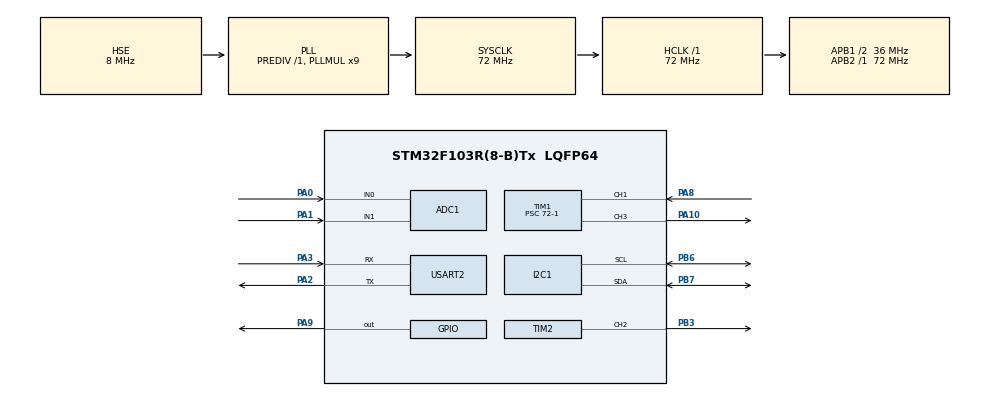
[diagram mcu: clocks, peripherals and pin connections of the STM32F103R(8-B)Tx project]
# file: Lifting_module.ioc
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ADC1.Channel-0\#ChannelRegularConversion=ADC_CHANNEL_0
ADC1.Channel-1\#ChannelRegularConversion=ADC_CHANNEL_1
ADC1.ContinuousConvMode=ENABLE
ADC1.NbrOfConversion=2
ADC1.NbrOfConversionFlag=1
ADC1.Rank-0\#ChannelRegularConversion=1
ADC1.Rank-1\#ChannelRegularConversion=2
ADC1.SamplingTime-0\#ChannelRegularConversion=ADC_SAMPLETIME_28CYCLES_5
ADC1.SamplingTime-1\#ChannelRegularConversion=ADC_SAMPLETIME_28CYCLES_5
ADC1.master=1
Dma.ADC1.0.Direction=DMA_PERIPH_TO_MEMORY
Dma.ADC1.0.Instance=DMA1_Channel1
Dma.ADC1.0.MemDataAlignment=DMA_MDATAALIGN_HALFWORD
Dma.ADC1.0.MemInc=DMA_MINC_ENABLE
Dma.ADC1.0.Mode=DMA_CIRCULAR
Dma.ADC1.0.PeriphDataAlignment=DMA_PDATAALIGN_HALFWORD
Dma.ADC1.0.PeriphInc=DMA_PINC_DISABLE
Dma.ADC1.0.Priority=DMA_PRIORITY_LOW
Dma.Request0=ADC1
Mcu.Family=STM32F1
Mcu.Name=STM32F103R(8-B)Tx
Mcu.Package=LQFP64
NVIC.DMA1_Channel1_IRQn=true\:0\:0\:false\:false\:true\:false\:true
NVIC.PriorityGroup=NVIC_PRIORITYGROUP_4
NVIC.TIM1_CC_IRQn=true\:0\:0\:false\:false\:true\:true\:true
PA0-WKUP.Signal=ADCx_IN0
PA1.Signal=ADCx_IN1
PA10.Signal=S_TIM1_CH3
PA13.Mode=Serial_Wire
PA13.Signal=SYS_JTMS-SWDIO
PA14.Mode=Serial_Wire
PA14.Signal=SYS_JTCK-SWCLK
PA2.Mode=Asynchronous
PA2.Signal=USART2_TX
PA3.Mode=Asynchronous
PA3.Signal=USART2_RX
PA8.Signal=S_TIM1_CH1
PA9.Signal=GPIO_Output
PB3.Signal=S_TIM2_CH2
PB6.Mode=I2C
PB6.Signal=I2C1_SCL
PB7.Mode=I2C
PB7.Signal=I2C1_SDA
PC14-OSC32_IN.Mode=LSE-External-Oscillator
PC14-OSC32_IN.Signal=RCC_OSC32_IN
PC15-OSC32_OUT.Mode=LSE-External-Oscillator
PC15-OSC32_OUT.Signal=RCC_OSC32_OUT
PD0-OSC_IN.Mode=HSE-External-Oscillator
PD0-OSC_IN.Signal=RCC_OSC_IN
PD1-OSC_OUT.Mode=HSE-External-Oscillator
PD1-OSC_OUT.Signal=RCC_OSC_OUT
ProjectManager.HeapSize=0x200
ProjectManager.StackSize=0x400
ProjectManager.TargetToolchain=STM32CubeIDE
RCC.ADCPresc=RCC_ADCPCLK2_DIV6
RCC.AHBFreq_Value=72000000
RCC.APB1CLKDivider=RCC_HCLK_DIV2
RCC.APB1Freq_Value=36000000
RCC.APB1TimFreq_Value=72000000
RCC.APB2Freq_Value=72000000
RCC.APB2TimFreq_Value=72000000
RCC.HCLKFreq_Value=72000000
RCC.PLLMUL=RCC_PLL_MUL9
RCC.PLLSourceVirtual=RCC_PLLSOURCE_HSE
RCC.SYSCLKFreq_VALUE=72000000
RCC.SYSCLKSource=RCC_SYSCLKSOURCE_PLLCLK
RCC.USBFreq_Value=72000000
SH.ADCx_IN0.0=ADC1_IN0,IN0
SH.ADCx_IN1.0=ADC1_IN1,IN1
SH.S_TIM1_CH1.0=TIM1_CH1,Input_Capture1_from_TI1
SH.S_TIM1_CH3.0=TIM1_CH3,PWM Generation3 CH3
SH.S_TIM2_CH2.0=TIM2_CH2,PWM Generation2 CH2
TIM1.Channel-Input_Capture1_from_TI1=TIM_CHANNEL_1
TIM1.Channel-PWM\ Generation3\ CH3=TIM_CHANNEL_3
TIM1.Period=65535
TIM1.Prescaler=72-1
TIM2.Channel-PWM\ Generation2\ CH2=TIM_CHANNEL_2
TIM2.OCPolarity_2=TIM_OCPOLARITY_LOW
TIM2.Period=1000
TIM2.Prescaler=72-1
USART2.VirtualMode=VM_ASYNC
board=custom

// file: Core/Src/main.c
/* USER CODE BEGIN Header */
/**
  ******************************************************************************
  * @file           : main.c
  * @brief          : Main program body
  ******************************************************************************
  * @attention
  *
  * <h2><center>&copy; Copyright (c) 2021 STMicroelectronics.
  * All rights reserved.</center></h2>
  *
  * This software component is licensed by ST under BSD 3-Clause license,
  * the "License"; You may not use this file except in compliance with the
  * License. You may obtain a copy of the License at:
  *                        opensource.org/licenses/BSD-3-Clause
  *
  ******************************************************************************
  */
/* USER CODE END Header */
#include "main.h"
#include "adc.h"
#include "dma.h"
#include "i2c.h"
#include "tim.h"
#include "usart.h"
#include "gpio.h"

/* USER CODE BEGIN Includes */
#include "stdio.h"	//printf function
#include "string.h"

/* USER CODE END Includes */

void SystemClock_Config(void);

/* USER CODE BEGIN 0 */
#ifdef __GNUC__
#define PUTCHAR_PROTOTYPE int __io_putchar(int ch)
#else
#define PUTCHAR_PROTOTYPE int fputc(int ch, FILE *f)
#endif

PUTCHAR_PROTOTYPE
{
    HAL_UART_Transmit(&huart2, (uint8_t *)&ch, 1 , 0xffff);
    return ch;
}

void delay (uint16_t time)
{
	__HAL_TIM_SET_COUNTER(&htim1, 0);
	while (__HAL_TIM_GET_COUNTER (&htim1) < time);
}

uint32_t IC_Val1 = 0;
uint32_t IC_Val2 = 0;
uint32_t Difference = 0;
uint8_t Is_First_Captured = 0;  // is the first value captured ?
uint8_t Distance  = 0;

#define TRIG_PIN GPIO_PIN_9
#define TRIG_PORT GPIOA

// Let's write the callback function

void HAL_TIM_IC_CaptureCallback(TIM_HandleTypeDef *htim)
{
	if (htim->Channel == HAL_TIM_ACTIVE_CHANNEL_1)  // if the interrupt source is channel1
	{
		if (Is_First_Captured==0) // if the first value is not captured
		{
			IC_Val1 = HAL_TIM_ReadCapturedValue(htim, TIM_CHANNEL_1); // read the first value
			Is_First_Captured = 1;  // set the first captured as true
			// Now change the polarity to falling edge
			__HAL_TIM_SET_CAPTUREPOLARITY(htim, TIM_CHANNEL_1, TIM_INPUTCHANNELPOLARITY_FALLING);
		}

		else if (Is_First_Captured==1)   // if the first is already captured
		{
			IC_Val2 = HAL_TIM_ReadCapturedValue(htim, TIM_CHANNEL_1);  // read second value
			__HAL_TIM_SET_COUNTER(htim, 0);  // reset the counter

			if (IC_Val2 > IC_Val1)
			{
				Difference = IC_Val2-IC_Val1;
			}

			else if (IC_Val1 > IC_Val2)
			{
				Difference = (0xffff - IC_Val1) + IC_Val2;
			}

			Distance = Difference * .034/2;
			Is_First_Captured = 0; // set it back to false

			// set polarity to rising edge
			__HAL_TIM_SET_CAPTUREPOLARITY(htim, TIM_CHANNEL_1, TIM_INPUTCHANNELPOLARITY_RISING);
			__HAL_TIM_DISABLE_IT(&htim1, TIM_IT_CC1);
		}
	}
}

void HCSR04_Read (void)
{
	HAL_GPIO_WritePin(TRIG_PORT, TRIG_PIN, GPIO_PIN_SET);  // pull the TRIG pin HIGH
	delay(10);  // wait for 10 us
	HAL_GPIO_WritePin(TRIG_PORT, TRIG_PIN, GPIO_PIN_RESET);  // pull the TRIG pin low

	__HAL_TIM_ENABLE_IT(&htim1, TIM_IT_CC1);
}

/* USER CODE END 0 */

int main(void)
{
  /* USER CODE BEGIN 1 */
	uint16_t adc_buf[2];
	float PA0_Vlotage;
	float PA1_Vlotage;
	float led_pwm = 250;
  /* USER CODE END 1 */

  /* MCU Configuration--------------------------------------------------------*/

  /* Reset of all peripherals, Initializes the Flash interface and the Systick. */
  HAL_Init();

  /* Configure the system clock */
  SystemClock_Config();

  /* Initialize all configured peripherals */
  MX_GPIO_Init();
  MX_DMA_Init();
  MX_TIM1_Init();
  MX_I2C1_Init();
  MX_USART2_UART_Init();
  MX_ADC1_Init();
  MX_TIM2_Init();
  /* USER CODE BEGIN 2 */
  HAL_ADC_Start_DMA(&hadc1, adc_buf, 2);	//&hadc1, saved in adc_buf, length 2
  HAL_TIM_PWM_Start(&htim2,TIM_CHANNEL_2);
  lcd_init();
  HAL_TIM_IC_Start_IT(&htim1, TIM_CHANNEL_1);

  /* USER CODE END 2 */

  /* Infinite loop */
  while (1)
  {

    /* USER CODE BEGIN 3 */
	  lcd_put_cur(0,0);
	  lcd_send_string ("Dist= ");
	  HCSR04_Read();
	  lcd_send_data((Distance/100) + 48);   // 100th pos
	  lcd_send_data(((Distance/10)%10) +48);  // 10th pos
	  lcd_send_data((Distance%10)+48);  // 1st pos
	  lcd_send_string(" cm");

	  PA0_Vlotage = adc_buf[0]*(3.3/4096);
	  PA1_Vlotage = adc_buf[1]*(3.3/4096);
	  printf("\n PA0 Voltage is %.2f v\t\r\n PA1 Voltage is %.2f v\r\n\t",PA0_Vlotage,PA1_Vlotage);

	  //LCD显示光照参数
	  lcd_put_cur(1,0);
		char* buffer[2];
		sprintf(buffer, "%.1f", PA0_Vlotage*107);
		lcd_send_string("LM:");
		lcd_send_string(buffer);
		lcd_put_cur(0,0);

		//PWM led running
		__HAL_TIM_SET_COMPARE(&htim2,TIM_CHANNEL_2,PA0_Vlotage*520);
		HAL_Delay(500);
  }
  /* USER CODE END 3 */
}

void SystemClock_Config(void)
{
  RCC_OscInitTypeDef RCC_OscInitStruct = {0};
  RCC_ClkInitTypeDef RCC_ClkInitStruct = {0};
  RCC_PeriphCLKInitTypeDef PeriphClkInit = {0};

  /** Initializes the RCC Oscillators according to the specified parameters
  * in the RCC_OscInitTypeDef structure.
  */
  RCC_OscInitStruct.OscillatorType = RCC_OSCILLATORTYPE_HSE;
  RCC_OscInitStruct.HSEState = RCC_HSE_ON;
  RCC_OscInitStruct.HSEPredivValue = RCC_HSE_PREDIV_DIV1;
  RCC_OscInitStruct.HSIState = RCC_HSI_ON;
  RCC_OscInitStruct.PLL.PLLState = RCC_PLL_ON;
  RCC_OscInitStruct.PLL.PLLSource = RCC_PLLSOURCE_HSE;
  RCC_OscInitStruct.PLL.PLLMUL = RCC_PLL_MUL9;
  if (HAL_RCC_OscConfig(&RCC_OscInitStruct) != HAL_OK)
  {
    Error_Handler();
  }
  /** Initializes the CPU, AHB and APB buses clocks
  */
  RCC_ClkInitStruct.ClockType = RCC_CLOCKTYPE_HCLK|RCC_CLOCKTYPE_SYSCLK
                              |RCC_CLOCKTYPE_PCLK1|RCC_CLOCKTYPE_PCLK2;
  RCC_ClkInitStruct.SYSCLKSource = RCC_SYSCLKSOURCE_PLLCLK;
  RCC_ClkInitStruct.AHBCLKDivider = RCC_SYSCLK_DIV1;
  RCC_ClkInitStruct.APB1CLKDivider = RCC_HCLK_DIV2;
  RCC_ClkInitStruct.APB2CLKDivider = RCC_HCLK_DIV1;

  if (HAL_RCC_ClockConfig(&RCC_ClkInitStruct, FLASH_LATENCY_2) != HAL_OK)
  {
    Error_Handler();
  }
  PeriphClkInit.PeriphClockSelection = RCC_PERIPHCLK_ADC;
  PeriphClkInit.AdcClockSelection = RCC_ADCPCLK2_DIV6;
  if (HAL_RCCEx_PeriphCLKConfig(&PeriphClkInit) != HAL_OK)
  {
    Error_Handler();
  }
}

void Error_Handler(void)
{
}

/************************ (C) COPYRIGHT STMicroelectronics *****END OF FILE****/
